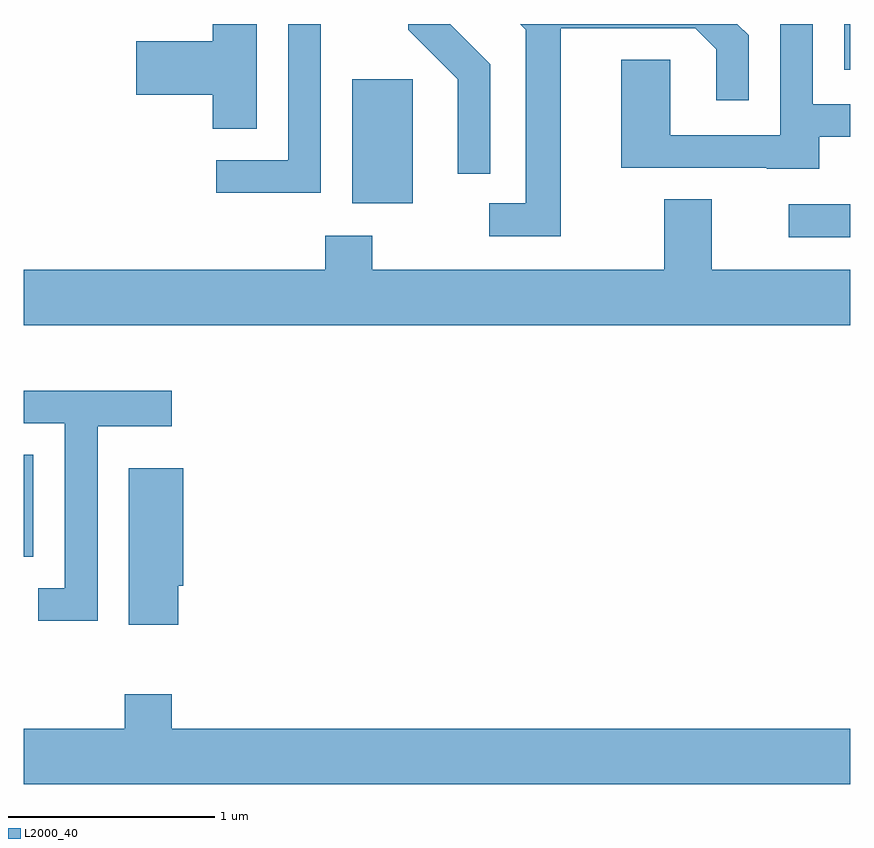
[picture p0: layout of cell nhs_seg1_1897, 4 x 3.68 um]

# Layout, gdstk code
import gdstk
lib = gdstk.Library(unit=1e-6, precision=1e-09)
def R(c, l, rs):  # rectangles x0, y0, x1, y1
    for r in rs: c.add(gdstk.rectangle(r[:2], r[2:], *l))
def P(c, l, *ps):  # polygons
    for p in ps: c.add(gdstk.Polygon(p, *l))
L2000_40 = (2000, 40)

nhs_seg1_1897 = lib.new_cell('nhs_seg1_1897')
R(nhs_seg1_1897, L2000_40, [(243.611,885.136,243.659,885.629), (247.313,886.681,247.611,886.839), (245.201,886.846,245.494,887.444), (247.581,887.491,247.611,887.712)])
P(nhs_seg1_1897, L2000_40, [(246.209,887.691),(246.859,887.691),(246.961,887.589),(246.961,887.343),(247.119,887.343),(247.119,887.657),(247.064,887.712),(246.013,887.712),(246.041,887.684),(246.041,886.844),(245.863,886.844),(245.863,886.686),(246.209,886.686)],
  [(245.049,887.712),(244.891,887.712),(244.891,887.054),(244.543,887.054),(244.543,886.896),(245.049,886.896)],
  [(245.869,887.517),(245.674,887.712),(245.471,887.712),(245.471,887.684),(245.711,887.444),(245.711,886.988),(245.869,886.988)],
  [(244.739,887.712),(244.526,887.712),(244.526,887.629),(244.156,887.629),(244.156,887.371),(244.526,887.371),(244.526,887.206),(244.739,887.206)],
  [(247.459,887.166),(247.611,887.166),(247.611,887.324),(247.429,887.324),(247.429,887.712),(247.271,887.712),(247.271,887.174),(246.739,887.174),(246.739,887.539),(246.501,887.539),(246.501,887.016),(247.205,887.016),(247.205,887.011),(247.459,887.011)],
  [(246.711,886.864),(246.711,886.524),(245.299,886.524),(245.299,886.689),(245.071,886.689),(245.071,886.524),(243.611,886.524),(243.611,886.256),(247.611,886.256),(247.611,886.524),(246.939,886.524),(246.939,886.864)],
  [(243.969,885.766),(244.329,885.766),(244.329,885.939),(243.611,885.939),(243.611,885.781),(243.811,885.781),(243.811,884.984),(243.683,884.984),(243.683,884.826),(243.969,884.826)],
  [(244.359,884.996),(244.384,884.996),(244.384,885.564),(244.121,885.564),(244.121,884.806),(244.359,884.806)],
  [(247.611,884.304),(244.329,884.304),(244.329,884.469),(244.101,884.469),(244.101,884.304),(243.611,884.304),(243.611,884.036),(247.611,884.036)])

lib.write_gds('nhs_seg1_1897.gds')
